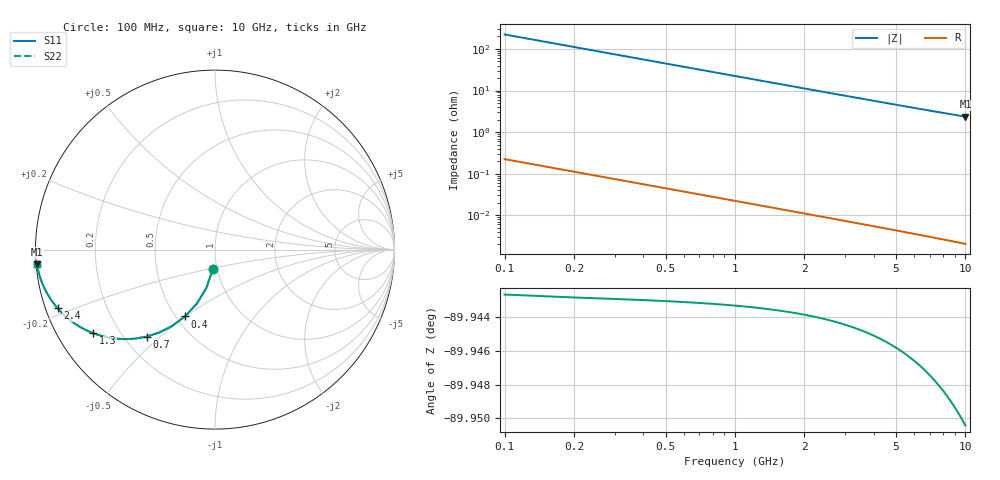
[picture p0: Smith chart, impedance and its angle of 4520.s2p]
# Hz S RI R 50.00
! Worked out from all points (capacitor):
!   100 points, 100 MHz to 10 GHz, reference 50 ohm
!   read as one part in shunt: C = 7.13 pF near 100 MHz
!   lowest |Z| = 2.35 ohm at 10 GHz (marker M1)
!   S11 on the Smith chart (normalised r, x): 100 MHz: 0.95, -0.21; 400 MHz: 0.56, -0.50; 700 MHz: 0.29, -0.45; 1.3 GHz: 0.11, -0.31; 2.4 GHz: 0.03, -0.18; 10 GHz: 0.00, -0.04
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1e8  -0.0125 -0.1105  0.9875 -0.1106  0.9875 -0.1106  -0.0125 -0.1105
2e8  -0.0479 -0.2131  0.952 -0.2133  0.952 -0.2133  -0.0479 -0.2131
3e8  -0.1016 -0.3015  0.8984 -0.3018  0.8984 -0.3018  -0.1016 -0.3015
4e8  -0.1673 -0.3725  0.8327 -0.3729  0.8327 -0.3729  -0.1673 -0.3725
5e8  -0.2387 -0.4256  0.7612 -0.4261  0.7612 -0.4261  -0.2387 -0.4256
6e8  -0.3109 -0.4621  0.689 -0.4627  0.689 -0.4627  -0.3109 -0.4621
7e8  -0.3804 -0.4846  0.6196 -0.4853  0.6196 -0.4853  -0.3804 -0.4846
8e8  -0.4448 -0.496  0.5552 -0.4968  0.5552 -0.4968  -0.4448 -0.496
1e9  -0.5557 -0.4959  0.4443 -0.4969  0.4443 -0.4969  -0.5557 -0.4959
1.1e9  -0.602 -0.4884  0.398 -0.4895  0.398 -0.4895  -0.602 -0.4884
1.3e9  -0.6784 -0.4659  0.3215 -0.4672  0.3215 -0.4672  -0.6784 -0.4659
1.5e9  -0.7373 -0.4389  0.2627 -0.4404  0.2627 -0.4404  -0.7373 -0.4389
1.8e9  -0.8014 -0.3975  0.1986 -0.3994  0.1986 -0.3994  -0.8014 -0.3975
2.1e9  -0.8458 -0.3596  0.1542 -0.3617  0.1542 -0.3617  -0.8458 -0.3596
2.4e9  -0.8774 -0.3263  0.1226 -0.3287  0.1226 -0.3287  -0.8774 -0.3263
2.9e9  -0.9125 -0.2806  0.0875 -0.2836  0.0875 -0.2836  -0.9125 -0.2806
3.4e9  -0.9347 -0.2448  0.0653 -0.2483  0.0653 -0.2483  -0.9347 -0.2448
4.2e9  -0.9561 -0.2021  0.0438 -0.2064  0.0438 -0.2064  -0.9561 -0.2021
5.1e9  -0.9698 -0.168  0.0302 -0.1732  0.0302 -0.1732  -0.9698 -0.168
6.7e9  -0.9823 -0.1278  0.0177 -0.1348  0.0177 -0.1348  -0.9823 -0.1278
8.4e9  -0.9887 -0.1007  0.0112 -0.1095  0.0112 -0.1095  -0.9887 -0.1007
1e10  -0.992 -0.0828  0.00788 -0.0934  0.00788 -0.0934  -0.992 -0.0828
